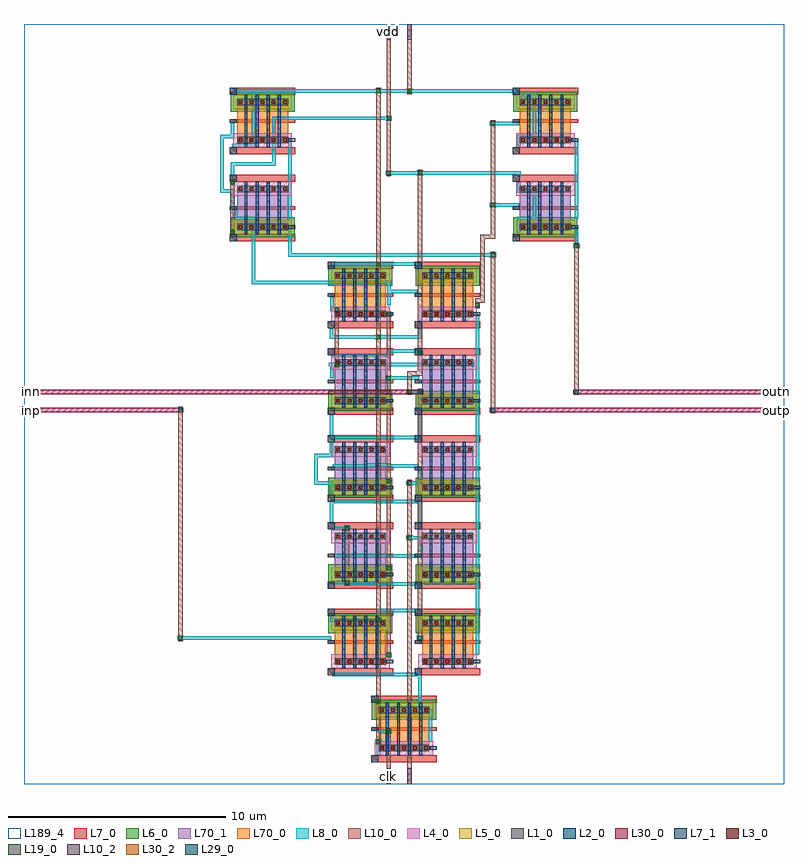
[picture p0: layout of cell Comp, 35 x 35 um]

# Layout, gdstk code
import gdstk
lib = gdstk.Library(unit=1e-6, precision=1e-09)
def R(c, l, rs):  # rectangles x0, y0, x1, y1
    for r in rs: c.add(gdstk.rectangle(r[:2], r[2:], *l))
def A(c, l, x, y, w, h, nx, ny, dx, dy):  # array of equal rectangles
    R(c, l, [(x+i*dx, y+j*dy, x+i*dx+w, y+j*dy+h) for i in range(nx) for j in range(ny)])
L1_0 = (1, 0)
L2_0 = (2, 0)
L3_0 = (3, 0)
L4_0 = (4, 0)
L5_0 = (5, 0)
L6_0 = (6, 0)
L7_0 = (7, 0)
L7_1 = (7, 1)
L8_0 = (8, 0)
L10_0 = (10, 0)
L10_2 = (10, 2)
L19_0 = (19, 0)
L29_0 = (29, 0)
L30_0 = (30, 0)
L30_2 = (30, 2)
L70_0 = (70, 0)
L70_1 = (70, 1)
L189_4 = (189, 4)

via_via1_xy = lib.new_cell('VIA_Via1_XY')
R(via_via1_xy, L8_0, [(-0.145,-0.105,0.145,0.105)])
R(via_via1_xy, L10_0, [(-0.1,-0.145,0.1,0.145)])
R(via_via1_xy, L19_0, [(-0.095,-0.095,0.095,0.095)])

via_via2_yx = lib.new_cell('VIA_Via2_YX')
R(via_via2_yx, L10_0, [(-0.105,-0.145,0.105,0.145)])
R(via_via2_yx, L29_0, [(-0.095,-0.095,0.095,0.095)])
R(via_via2_yx, L30_0, [(-0.145,-0.1,0.145,0.1)])

via_via1_yy = lib.new_cell('VIA_Via1_YY')
R(via_via1_yy, L8_0, [(-0.105,-0.145,0.105,0.145)])
R(via_via1_yy, L10_0, [(-0.1,-0.145,0.1,0.145)])
R(via_via1_yy, L19_0, [(-0.095,-0.095,0.095,0.095)])

sg13_lv_pmos = lib.new_cell('sg13_lv_pmos')
R(sg13_lv_pmos, L1_0, [(0.34,0.5,2.68,0.8), (0.34,2.26,2.68,2.56)])
A(sg13_lv_pmos, L2_0, 0.68, 0.32, 0.13, 2.42, 4, 1, 0.51, 0)
A(sg13_lv_pmos, L3_0, 0.41, 0.57, 0.16, 0.16, 5, 2, 0.51, 1.76)
R(sg13_lv_pmos, L4_0, [(0.16,2.08,2.86,2.74)])
R(sg13_lv_pmos, L5_0, [(0.16,0.32,2.86,0.98)])
R(sg13_lv_pmos, L6_0, [(0.03,0.19,2.99,1.11)])
A(sg13_lv_pmos, L7_0, 0.35, 0.51, 0.28, 0.28, 5, 1, 0.51, 0)
R(sg13_lv_pmos, L7_0, [(0,0,3.02,0.32), (0,1.45,3.02,1.61), (0,2.74,3.02,3.06)])
R(sg13_lv_pmos, L7_1, [(0,0,0.32,0.32), (2.7,0.57,3.02,0.73), (0,1.45,0.32,1.61), (0,2.74,0.32,3.06)])
R(sg13_lv_pmos, L70_1, [(0.34,0.5,2.68,2.56)])

sg13_lv_nmos = lib.new_cell('sg13_lv_nmos')
R(sg13_lv_nmos, L1_0, [(0.34,0.5,2.68,0.8), (0.34,2.26,2.68,2.56)])
A(sg13_lv_nmos, L2_0, 0.68, 0.32, 0.13, 2.42, 4, 1, 0.51, 0)
A(sg13_lv_nmos, L3_0, 0.41, 0.57, 0.16, 0.16, 5, 2, 0.51, 1.76)
R(sg13_lv_nmos, L4_0, [(0.16,0.32,2.86,0.98)])
R(sg13_lv_nmos, L5_0, [(0.16,2.08,2.86,2.74)])
R(sg13_lv_nmos, L6_0, [(0.03,1.95,2.99,2.87)])
A(sg13_lv_nmos, L7_0, 0.35, 0.51, 0.28, 0.28, 5, 1, 0.51, 0)
R(sg13_lv_nmos, L7_0, [(0,0,3.02,0.32), (0,1.45,3.02,1.61), (0,2.74,3.02,3.06)])
R(sg13_lv_nmos, L7_1, [(0,0,0.32,0.32), (2.7,0.57,3.02,0.73), (0,1.45,0.32,1.61), (0,2.74,0.32,3.06)])
R(sg13_lv_nmos, L70_0, [(0.34,0.5,2.68,2.56)])

comp = lib.new_cell('Comp')
R(comp, L8_0, [(14.025,19.24,14.4,19.4), (17.865,28.06,18.24,28.22)])
R(comp, L10_0, [(16.7,0,16.9,0.72), (17.66,0,17.86,0.72), (16.7,30.085,16.9,30.66), (16.7,34.28,16.9,35), (17.66,34.28,17.86,35)])
R(comp, L10_2, [(16.7,0,16.9,0.72), (17.66,0,17.86,0.72), (16.7,34.28,16.9,35), (17.66,34.28,17.86,35)])
R(comp, L30_0, [(0,17.12,0.72,17.32), (34.28,17.12,35,17.32), (0,17.96,0.72,18.16), (34.28,17.96,35,18.16)])
R(comp, L30_2, [(0,17.12,0.72,17.32), (34.28,17.12,35,17.32), (0,17.96,0.72,18.16), (34.28,17.96,35,18.16)])
R(comp, L189_4, [(0,0,35,35)])
comp.add(gdstk.FlexPath([(16.32,2.425),(16.8,2.425)], 0.16, ends=(0, 0.08), simple_path=True, layer=8, datatype=0))  # L8_0
comp.add(gdstk.FlexPath([(18.21,10.71),(18.21,11.34)], 0.16, ends=(0, 0.08), simple_path=True, layer=8, datatype=0))  # L8_0
comp.add(gdstk.FlexPath([(17.76,11.34),(18.21,11.34)], 0.16, ends="extended", simple_path=True, layer=8, datatype=0))  # L8_0
comp.add(gdstk.FlexPath([(18.21,13.86),(18.21,14.425)], 0.16, ends=(0.08, 0), simple_path=True, layer=8, datatype=0))  # L8_0
comp.add(gdstk.FlexPath([(17.76,13.86),(18.21,13.86)], 0.16, ends="extended", simple_path=True, layer=8, datatype=0))  # L8_0
comp.add(gdstk.FlexPath([(14.295,10.5),(18.105,10.5)], 0.16, ends="flush", simple_path=True, layer=8, datatype=0))  # L8_0
comp.add(gdstk.FlexPath([(14.295,14.635),(14.295,14.7)], 0.16, ends=(0.08, 0), simple_path=True, layer=8, datatype=0))  # L8_0
comp.add(gdstk.FlexPath([(14.295,14.635),(15.84,14.635)], 0.16, ends="extended", simple_path=True, layer=8, datatype=0))  # L8_0
comp.add(gdstk.FlexPath([(15.84,14.635),(15.84,14.7)], 0.16, ends="extended", simple_path=True, layer=8, datatype=0))  # L8_0
comp.add(gdstk.FlexPath([(15.84,14.7),(16.79,14.7)], 0.16, ends="extended", simple_path=True, layer=8, datatype=0))  # L8_0
comp.add(gdstk.FlexPath([(16.79,14.635),(16.79,14.7)], 0.16, ends="extended", simple_path=True, layer=8, datatype=0))  # L8_0
comp.add(gdstk.FlexPath([(16.79,14.635),(18.105,14.635)], 0.16, ends="extended", simple_path=True, layer=8, datatype=0))  # L8_0
comp.add(gdstk.FlexPath([(18.105,14.635),(18.105,14.7)], 0.16, ends=(0.08, 0), simple_path=True, layer=8, datatype=0))  # L8_0
comp.add(gdstk.FlexPath([(7.2,6.72),(14.16,6.72)], 0.16, ends=(0.08, 0), simple_path=True, layer=8, datatype=0))  # L8_0
comp.add(gdstk.FlexPath([(25.44,24.78),(25.44,25.735)], 0.16, ends=(0.08, 0), simple_path=True, layer=8, datatype=0))  # L8_0
comp.add(gdstk.FlexPath([(25.44,26.04),(25.44,29.735)], 0.16, ends="flush", simple_path=True, layer=8, datatype=0))  # L8_0
comp.add(gdstk.FlexPath([(9.6,26.67),(9.6,27.3)], 0.16, ends=(0, 0.08), simple_path=True, layer=8, datatype=0))  # L8_0
comp.add(gdstk.FlexPath([(9.12,27.3),(9.6,27.3)], 0.16, ends="extended", simple_path=True, layer=8, datatype=0))  # L8_0
comp.add(gdstk.FlexPath([(9.12,27.3),(9.12,29.82)], 0.16, ends="extended", simple_path=True, layer=8, datatype=0))  # L8_0
comp.add(gdstk.FlexPath([(9.12,29.82),(9.6,29.82)], 0.16, ends="extended", simple_path=True, layer=8, datatype=0))  # L8_0
comp.add(gdstk.FlexPath([(9.6,29.82),(9.6,30.425)], 0.16, ends=(0.08, 0), simple_path=True, layer=8, datatype=0))  # L8_0
comp.add(gdstk.FlexPath([(16.8,22.05),(16.8,23.1)], 0.16, ends=(0, 0.08), simple_path=True, layer=8, datatype=0))  # L8_0
comp.add(gdstk.FlexPath([(10.56,23.1),(16.8,23.1)], 0.16, ends="extended", simple_path=True, layer=8, datatype=0))  # L8_0
comp.add(gdstk.FlexPath([(10.56,23.1),(10.56,26.04)], 0.16, ends="extended", simple_path=True, layer=8, datatype=0))  # L8_0
comp.add(gdstk.FlexPath([(9.69,26.04),(10.56,26.04)], 0.16, ends="extended", simple_path=True, layer=8, datatype=0))  # L8_0
comp.add(gdstk.FlexPath([(9.69,26.04),(9.69,26.46)], 0.16, ends=(0.08, 0), simple_path=True, layer=8, datatype=0))  # L8_0
comp.add(gdstk.FlexPath([(16.8,22.68),(18.105,22.68)], 0.16, ends=(0.08, 0), simple_path=True, layer=8, datatype=0))  # L8_0
comp.add(gdstk.FlexPath([(16.8,18.69),(18.21,18.69)], 0.16, ends=(0.08, 0), simple_path=True, layer=8, datatype=0))  # L8_0
comp.add(gdstk.FlexPath([(16.8,17.945),(16.8,18.69)], 0.16, ends=(0, 0.08), simple_path=True, layer=8, datatype=0))  # L8_0
comp.add(gdstk.FlexPath([(12.24,24.36),(12.24,25.735)], 0.16, ends=(0.08, 0), simple_path=True, layer=8, datatype=0))  # L8_0
comp.add(gdstk.FlexPath([(12.24,24.36),(21.6,24.36)], 0.16, ends="extended", simple_path=True, layer=8, datatype=0))  # L8_0
comp.add(gdstk.FlexPath([(12.24,26.04),(12.24,29.735)], 0.16, ends="flush", simple_path=True, layer=8, datatype=0))  # L8_0
comp.add(gdstk.FlexPath([(21.6,26.67),(22.8,26.67)], 0.16, ends=(0.08, 0), simple_path=True, layer=8, datatype=0))  # L8_0
comp.add(gdstk.FlexPath([(21.6,30.425),(22.8,30.425)], 0.16, ends=(0.08, 0), simple_path=True, layer=8, datatype=0))  # L8_0
comp.add(gdstk.FlexPath([(20.88,17.945),(20.88,21.63)], 0.16, ends="flush", simple_path=True, layer=8, datatype=0))  # L8_0
comp.add(gdstk.FlexPath([(20.88,13.945),(20.88,17.64)], 0.16, ends="flush", simple_path=True, layer=8, datatype=0))  # L8_0
comp.add(gdstk.FlexPath([(20.88,9.945),(20.88,13.65)], 0.16, ends="flush", simple_path=True, layer=8, datatype=0))  # L8_0
comp.add(gdstk.FlexPath([(20.88,5.945),(20.88,9.66)], 0.16, ends="flush", simple_path=True, layer=8, datatype=0))  # L8_0
comp.add(gdstk.FlexPath([(14.19,18.69),(14.19,19.32)], 0.16, ends=(0, 0.08), simple_path=True, layer=8, datatype=0))  # L8_0
comp.add(gdstk.FlexPath([(14.19,19.32),(20.88,19.32)], 0.16, ends="extended", simple_path=True, layer=8, datatype=0))  # L8_0
comp.add(gdstk.FlexPath([(14.19,21.84),(14.19,22.425)], 0.16, ends=(0.08, 0), simple_path=True, layer=8, datatype=0))  # L8_0
comp.add(gdstk.FlexPath([(14.19,21.84),(14.4,21.84)], 0.16, ends="extended", simple_path=True, layer=8, datatype=0))  # L8_0
comp.add(gdstk.FlexPath([(14.19,5.04),(18.21,5.04)], 0.16, ends="flush", simple_path=True, layer=8, datatype=0))  # L8_0
comp.add(gdstk.FlexPath([(18.72,1.945),(18.72,3.36)], 0.16, ends=(0, 0.08), simple_path=True, layer=8, datatype=0))  # L8_0
comp.add(gdstk.FlexPath([(18.24,3.36),(18.72,3.36)], 0.16, ends="extended", simple_path=True, layer=8, datatype=0))  # L8_0
comp.add(gdstk.FlexPath([(18.24,3.36),(18.24,5.04)], 0.16, ends=(0.08, 0), simple_path=True, layer=8, datatype=0))  # L8_0
comp.add(gdstk.FlexPath([(22.8,27.955),(22.8,28.14)], 0.16, ends=(0, 0.08), simple_path=True, layer=8, datatype=0))  # L8_0
comp.add(gdstk.FlexPath([(16.8,28.14),(22.8,28.14)], 0.16, ends="extended", simple_path=True, layer=8, datatype=0))  # L8_0
comp.add(gdstk.FlexPath([(22.8,25.41),(22.8,26.04)], 0.16, ends=(0, 0.08), simple_path=True, layer=8, datatype=0))  # L8_0
comp.add(gdstk.FlexPath([(22.8,26.04),(23.52,26.04)], 0.16, ends="extended", simple_path=True, layer=8, datatype=0))  # L8_0
comp.add(gdstk.FlexPath([(23.52,26.04),(23.52,27.3)], 0.16, ends="extended", simple_path=True, layer=8, datatype=0))  # L8_0
comp.add(gdstk.FlexPath([(22.8,27.3),(23.52,27.3)], 0.16, ends="extended", simple_path=True, layer=8, datatype=0))  # L8_0
comp.add(gdstk.FlexPath([(22.8,27.3),(22.8,27.72)], 0.16, ends=(0.08, 0), simple_path=True, layer=8, datatype=0))  # L8_0
comp.add(gdstk.FlexPath([(18.24,17.315),(18.24,18.06)], 0.16, ends=(0, 0.08), simple_path=True, layer=8, datatype=0))  # L8_0
comp.add(gdstk.FlexPath([(17.76,18.06),(18.24,18.06)], 0.16, ends="extended", simple_path=True, layer=8, datatype=0))  # L8_0
comp.add(gdstk.FlexPath([(18.24,15.96),(18.24,17.01)], 0.16, ends="flush", simple_path=True, layer=8, datatype=0))  # L8_0
comp.add(gdstk.FlexPath([(14.16,15.96),(18.24,15.96)], 0.16, ends="flush", simple_path=True, layer=8, datatype=0))  # L8_0
comp.add(gdstk.FlexPath([(14.16,15.96),(14.16,17.01)], 0.16, ends="flush", simple_path=True, layer=8, datatype=0))  # L8_0
comp.add(gdstk.FlexPath([(14.16,19.74),(16.79,19.74)], 0.16, ends=(0, 0.08), simple_path=True, layer=8, datatype=0))  # L8_0
comp.add(gdstk.FlexPath([(16.79,19.74),(16.79,19.95)], 0.16, ends="extended", simple_path=True, layer=8, datatype=0))  # L8_0
comp.add(gdstk.FlexPath([(16.79,19.95),(18.24,19.95)], 0.16, ends=(0.08, 0), simple_path=True, layer=8, datatype=0))  # L8_0
comp.add(gdstk.FlexPath([(14.16,13.315),(14.16,13.86)], 0.16, ends=(0, 0.08), simple_path=True, layer=8, datatype=0))  # L8_0
comp.add(gdstk.FlexPath([(13.44,13.86),(14.16,13.86)], 0.16, ends="extended", simple_path=True, layer=8, datatype=0))  # L8_0
comp.add(gdstk.FlexPath([(13.44,13.86),(13.44,15.12)], 0.16, ends="extended", simple_path=True, layer=8, datatype=0))  # L8_0
comp.add(gdstk.FlexPath([(13.44,15.12),(14.16,15.12)], 0.16, ends="extended", simple_path=True, layer=8, datatype=0))  # L8_0
comp.add(gdstk.FlexPath([(14.16,15.12),(14.16,15.75)], 0.16, ends=(0.08, 0), simple_path=True, layer=8, datatype=0))  # L8_0
comp.add(gdstk.FlexPath([(14.16,13.02),(18.24,13.02)], 0.16, ends="flush", simple_path=True, layer=8, datatype=0))  # L8_0
comp.add(gdstk.FlexPath([(14.16,11.97),(14.16,13.02)], 0.16, ends="flush", simple_path=True, layer=8, datatype=0))  # L8_0
comp.add(gdstk.FlexPath([(18.24,11.97),(18.24,13.02)], 0.16, ends="flush", simple_path=True, layer=8, datatype=0))  # L8_0
comp.add(gdstk.FlexPath([(14.16,9.275),(14.88,9.275)], 0.16, ends=(0, 0.08), simple_path=True, layer=8, datatype=0))  # L8_0
comp.add(gdstk.FlexPath([(14.16,11.76),(14.88,11.76)], 0.16, ends=(0, 0.08), simple_path=True, layer=8, datatype=0))  # L8_0
comp.add(gdstk.FlexPath([(16.32,9.21),(18.24,9.21)], 0.16, ends=(0.08, 0), simple_path=True, layer=8, datatype=0))  # L8_0
comp.add(gdstk.FlexPath([(16.32,9.21),(16.32,9.24)], 0.16, ends="extended", simple_path=True, layer=8, datatype=0))  # L8_0
comp.add(gdstk.FlexPath([(14.88,9.24),(16.32,9.24)], 0.16, ends="extended", simple_path=True, layer=8, datatype=0))  # L8_0
comp.add(gdstk.FlexPath([(14.88,9.24),(14.88,9.275)], 0.16, ends="extended", simple_path=True, layer=8, datatype=0))  # L8_0
comp.add(gdstk.FlexPath([(9.6,27.955),(9.6,28.56)], 0.16, ends=(0, 0.08), simple_path=True, layer=8, datatype=0))  # L8_0
comp.add(gdstk.FlexPath([(9.6,28.56),(11.52,28.56)], 0.16, ends="extended", simple_path=True, layer=8, datatype=0))  # L8_0
comp.add(gdstk.FlexPath([(11.52,28.56),(11.52,30.66)], 0.16, ends="extended", simple_path=True, layer=8, datatype=0))  # L8_0
comp.add(gdstk.FlexPath([(11.52,30.66),(16.8,30.66)], 0.16, ends="extended", simple_path=True, layer=8, datatype=0))  # L8_0
comp.add(gdstk.FlexPath([(16.32,1.315),(16.32,1.945)], 0.16, ends=(0, 0.08), simple_path=True, layer=8, datatype=0))  # L8_0
comp.add(gdstk.FlexPath([(14.19,7.56),(14.19,7.745)], 0.16, ends=(0.08, 0), simple_path=True, layer=8, datatype=0))  # L8_0
comp.add(gdstk.FlexPath([(14.19,7.56),(16.32,7.56)], 0.16, ends="extended", simple_path=True, layer=8, datatype=0))  # L8_0
comp.add(gdstk.FlexPath([(16.32,7.98),(18.105,7.98)], 0.16, ends=(0.08, 0), simple_path=True, layer=8, datatype=0))  # L8_0
comp.add(gdstk.FlexPath([(16.32,7.56),(16.32,7.98)], 0.16, ends="extended", simple_path=True, layer=8, datatype=0))  # L8_0
comp.add(gdstk.FlexPath([(14.16,20.58),(14.16,21)], 0.16, ends=(0.08, 0), simple_path=True, layer=8, datatype=0))  # L8_0
comp.add(gdstk.FlexPath([(14.16,20.58),(16.32,20.58)], 0.16, ends="extended", simple_path=True, layer=8, datatype=0))  # L8_0
comp.add(gdstk.FlexPath([(18.24,20.58),(18.24,21)], 0.16, ends=(0.08, 0), simple_path=True, layer=8, datatype=0))  # L8_0
comp.add(gdstk.FlexPath([(16.32,20.58),(18.24,20.58)], 0.16, ends="extended", simple_path=True, layer=8, datatype=0))  # L8_0
comp.add(gdstk.FlexPath([(14.16,23.94),(16.32,23.94)], 0.16, ends=(0, 0.08), simple_path=True, layer=8, datatype=0))  # L8_0
comp.add(gdstk.FlexPath([(16.32,23.94),(18.24,23.94)], 0.16, ends=(0.08, 0), simple_path=True, layer=8, datatype=0))  # L8_0
comp.add(gdstk.FlexPath([(9.69,31.92),(16.32,31.92)], 0.16, ends=(0, 0.08), simple_path=True, layer=8, datatype=0))  # L8_0
comp.add(gdstk.FlexPath([(9.6,29.4),(10.56,29.4)], 0.16, ends=(0, 0.08), simple_path=True, layer=8, datatype=0))  # L8_0
comp.add(gdstk.FlexPath([(10.56,29.4),(10.56,31.92)], 0.16, ends="extended", simple_path=True, layer=8, datatype=0))  # L8_0
comp.add(gdstk.FlexPath([(16.32,31.92),(17.76,31.92)], 0.16, ends="extended", simple_path=True, layer=8, datatype=0))  # L8_0
comp.add(gdstk.FlexPath([(17.76,31.92),(22.71,31.92)], 0.16, ends=(0.08, 0), simple_path=True, layer=8, datatype=0))  # L8_0
comp.add(gdstk.FlexPath([(22.8,29.4),(22.8,29.82)], 0.16, ends=(0, 0.08), simple_path=True, layer=8, datatype=0))  # L8_0
comp.add(gdstk.FlexPath([(22.8,29.82),(23.52,29.82)], 0.16, ends="extended", simple_path=True, layer=8, datatype=0))  # L8_0
comp.add(gdstk.FlexPath([(23.52,29.82),(23.52,31.71)], 0.16, ends="extended", simple_path=True, layer=8, datatype=0))  # L8_0
comp.add(gdstk.FlexPath([(22.8,31.71),(23.52,31.71)], 0.16, ends=(0, 0.08), simple_path=True, layer=8, datatype=0))  # L8_0
comp.add(gdstk.FlexPath([(16.8,0.42),(16.8,2.425)], 0.2, ends=(0, 0.1), simple_path=True, layer=10, datatype=0))  # L10_0
comp.add(gdstk.FlexPath([(17.76,0.42),(17.76,11.34)], 0.2, ends=(0, 0.1), simple_path=True, layer=10, datatype=0))  # L10_0
comp.add(gdstk.FlexPath([(17.76,11.34),(17.76,13.86)], 0.2, ends="extended", simple_path=True, layer=10, datatype=0))  # L10_0
comp.add(gdstk.FlexPath([(18.24,6.72),(18.24,18.06)], 0.2, ends="extended", simple_path=True, layer=10, datatype=0))  # L10_0
comp.add(gdstk.FlexPath([(7.2,6.72),(7.2,17.22)], 0.2, ends="extended", simple_path=True, layer=10, datatype=0))  # L10_0
comp.add(gdstk.FlexPath([(25.44,18.06),(25.44,24.78)], 0.2, ends="extended", simple_path=True, layer=10, datatype=0))  # L10_0
comp.add(gdstk.FlexPath([(16.8,18.69),(16.8,21.63)], 0.2, ends="extended", simple_path=True, layer=10, datatype=0))  # L10_0
comp.add(gdstk.FlexPath([(16.8,13.945),(16.8,18.69)], 0.2, ends="extended", simple_path=True, layer=10, datatype=0))  # L10_0
comp.add(gdstk.FlexPath([(16.8,9.945),(16.8,13.945)], 0.2, ends="extended", simple_path=True, layer=10, datatype=0))  # L10_0
comp.add(gdstk.FlexPath([(16.8,5.945),(16.8,9.945)], 0.2, ends="extended", simple_path=True, layer=10, datatype=0))  # L10_0
comp.add(gdstk.FlexPath([(21.6,17.22),(21.6,24.36)], 0.2, ends="extended", simple_path=True, layer=10, datatype=0))  # L10_0
comp.add(gdstk.FlexPath([(21.6,26.67),(21.6,30.425)], 0.2, ends="extended", simple_path=True, layer=10, datatype=0))  # L10_0
comp.add(gdstk.FlexPath([(20.88,22.05),(20.88,22.26)], 0.2, ends="extended", simple_path=True, layer=10, datatype=0))  # L10_0
comp.add(gdstk.FlexPath([(20.88,22.26),(21.12,22.26)], 0.2, ends="extended", simple_path=True, layer=10, datatype=0))  # L10_0
comp.add(gdstk.FlexPath([(21.12,22.26),(21.12,25.2)], 0.2, ends="extended", simple_path=True, layer=10, datatype=0))  # L10_0
comp.add(gdstk.FlexPath([(21.12,25.2),(21.6,25.2)], 0.2, ends="extended", simple_path=True, layer=10, datatype=0))  # L10_0
comp.add(gdstk.FlexPath([(21.6,25.2),(21.6,26.67)], 0.2, ends="extended", simple_path=True, layer=10, datatype=0))  # L10_0
comp.add(gdstk.FlexPath([(14.4,19.32),(14.4,21.84)], 0.2, ends="extended", simple_path=True, layer=10, datatype=0))  # L10_0
comp.add(gdstk.FlexPath([(16.8,28.14),(16.8,34.44)], 0.2, ends=(0.1, 0), simple_path=True, layer=10, datatype=0))  # L10_0
comp.add(gdstk.FlexPath([(18.24,19.85),(18.24,28.14)], 0.2, ends="extended", simple_path=True, layer=10, datatype=0))  # L10_0
comp.add(gdstk.FlexPath([(17.76,18.06),(17.76,18.9)], 0.2, ends="extended", simple_path=True, layer=10, datatype=0))  # L10_0
comp.add(gdstk.FlexPath([(17.76,18.9),(18.24,18.9)], 0.2, ends="extended", simple_path=True, layer=10, datatype=0))  # L10_0
comp.add(gdstk.FlexPath([(18.24,18.9),(18.24,19.85)], 0.2, ends="extended", simple_path=True, layer=10, datatype=0))  # L10_0
comp.add(gdstk.FlexPath([(14.88,9.275),(14.88,11.76)], 0.2, ends="extended", simple_path=True, layer=10, datatype=0))  # L10_0
comp.add(gdstk.FlexPath([(9.6,25.41),(9.6,27.72)], 0.2, ends="extended", simple_path=True, layer=10, datatype=0))  # L10_0
comp.add(gdstk.FlexPath([(16.32,1.945),(16.32,3.78)], 0.2, ends="extended", simple_path=True, layer=10, datatype=0))  # L10_0
comp.add(gdstk.FlexPath([(16.32,3.78),(16.32,7.56)], 0.2, ends="extended", simple_path=True, layer=10, datatype=0))  # L10_0
comp.add(gdstk.FlexPath([(16.32,7.56),(16.32,20.58)], 0.2, ends="extended", simple_path=True, layer=10, datatype=0))  # L10_0
comp.add(gdstk.FlexPath([(16.32,20.58),(16.32,23.94)], 0.2, ends="extended", simple_path=True, layer=10, datatype=0))  # L10_0
comp.add(gdstk.FlexPath([(16.32,23.94),(16.32,31.92)], 0.2, ends="extended", simple_path=True, layer=10, datatype=0))  # L10_0
comp.add(gdstk.FlexPath([(17.76,31.92),(17.76,34.44)], 0.2, ends=(0.1, 0), simple_path=True, layer=10, datatype=0))  # L10_0
comp.add(gdstk.FlexPath([(0.48,18.06),(18.24,18.06)], 0.2, ends=(0, 0.1), simple_path=True, layer=30, datatype=0))  # L30_0
comp.add(gdstk.FlexPath([(0.48,17.22),(7.2,17.22)], 0.2, ends=(0, 0.1), simple_path=True, layer=30, datatype=0))  # L30_0
comp.add(gdstk.FlexPath([(25.44,18.06),(34.56,18.06)], 0.2, ends=(0.1, 0), simple_path=True, layer=30, datatype=0))  # L30_0
comp.add(gdstk.FlexPath([(21.6,17.22),(34.56,17.22)], 0.2, ends=(0.1, 0), simple_path=True, layer=30, datatype=0))  # L30_0
comp.add(gdstk.Reference(via_via1_xy, (14.88,11.76)))
comp.add(gdstk.Reference(via_via1_xy, (17.76,31.92)))
comp.add(gdstk.Reference(via_via1_xy, (16.32,31.92)))
comp.add(gdstk.Reference(via_via1_xy, (16.32,23.94)))
comp.add(gdstk.Reference(via_via1_xy, (16.32,20.58)))
comp.add(gdstk.Reference(via_via1_xy, (16.32,7.56)))
comp.add(gdstk.Reference(via_via1_xy, (16.32,1.945)))
comp.add(gdstk.Reference(via_via1_xy, (16.8,30.66)))
comp.add(gdstk.Reference(via_via1_xy, (16.8,2.425)))
comp.add(gdstk.Reference(via_via1_xy, (14.88,9.275)))
comp.add(gdstk.Reference(via_via1_xy, (21.6,24.36)))
comp.add(gdstk.Reference(via_via1_xy, (17.76,11.34)))
comp.add(gdstk.Reference(via_via1_xy, (17.76,13.86)))
comp.add(gdstk.Reference(via_via1_xy, (18.24,6.72)))
comp.add(gdstk.Reference(via_via1_xy, (7.2,6.72)))
comp.add(gdstk.Reference(via_via1_xy, (25.44,24.78)))
comp.add(gdstk.Reference(via_via1_xy, (16.8,18.69)))
comp.add(gdstk.Reference(via_via1_xy, (16.8,21.63)))
comp.add(gdstk.Reference(via_via1_xy, (16.8,13.945)))
comp.add(gdstk.Reference(via_via1_xy, (16.8,9.945)))
comp.add(gdstk.Reference(via_via1_xy, (16.8,5.945)))
comp.add(gdstk.Reference(via_via1_xy, (17.76,18.06)))
comp.add(gdstk.Reference(via_via1_xy, (21.6,26.67)))
comp.add(gdstk.Reference(via_via1_xy, (21.6,30.425)))
comp.add(gdstk.Reference(via_via1_xy, (14.4,21.84)))
comp.add(gdstk.Reference(via_via1_xy, (14.4,19.32)))
comp.add(gdstk.Reference(via_via1_xy, (16.8,28.14)))
comp.add(gdstk.Reference(via_via1_xy, (18.24,19.85)))
comp.add(gdstk.Reference(via_via1_xy, (18.24,28.14)))
comp.add(gdstk.Reference(via_via2_yx, (21.6,17.22)))
comp.add(gdstk.Reference(via_via2_yx, (25.44,18.06)))
comp.add(gdstk.Reference(via_via2_yx, (7.2,17.22)))
comp.add(gdstk.Reference(via_via2_yx, (18.24,18.06)))
comp.add(gdstk.Reference(via_via1_yy, (20.88,22.05)))
comp.add(gdstk.Reference(via_via1_yy, (16.32,3.78)))
comp.add(gdstk.Reference(via_via1_yy, (9.6,27.72)))
comp.add(gdstk.Reference(via_via1_yy, (9.6,25.41)))
comp.add(gdstk.Reference(sg13_lv_pmos, (18,17)))
comp.add(gdstk.Reference(sg13_lv_pmos, (13.98,9)))
comp.add(gdstk.Reference(sg13_lv_pmos, (18,9)))
comp.add(gdstk.Reference(sg13_lv_pmos, (13.98,13)))
comp.add(gdstk.Reference(sg13_lv_pmos, (18,13)))
comp.add(gdstk.Reference(sg13_lv_pmos, (13.98,17)))
comp.add(gdstk.Reference(sg13_lv_pmos, (9.48,25)))
comp.add(gdstk.Reference(sg13_lv_pmos, (22.5,25)))
comp.add(gdstk.Reference(sg13_lv_nmos, (15.99,1)))
comp.add(gdstk.Reference(sg13_lv_nmos, (18,21)))
comp.add(gdstk.Reference(sg13_lv_nmos, (13.98,21)))
comp.add(gdstk.Reference(sg13_lv_nmos, (22.5,29)))
comp.add(gdstk.Reference(sg13_lv_nmos, (9.48,29)))
comp.add(gdstk.Reference(sg13_lv_nmos, (18,5)))
comp.add(gdstk.Reference(sg13_lv_nmos, (13.98,5)))
comp.add(gdstk.Label('clk', (16.8,0.36), layer=10, texttype=25))
comp.add(gdstk.Label('clkb', (17.76,0.36), layer=10, texttype=25))
comp.add(gdstk.Label('vdd', (16.8,34.64), layer=10, texttype=25))
comp.add(gdstk.Label('vss', (17.76,34.64), layer=10, texttype=25))
comp.add(gdstk.Label('inn', (0.36,18.06), layer=30, texttype=25))
comp.add(gdstk.Label('inp', (0.36,17.22), layer=30, texttype=25))
comp.add(gdstk.Label('outn', (34.64,18.06), layer=30, texttype=25))
comp.add(gdstk.Label('outp', (34.64,17.22), layer=30, texttype=25))

lib.write_gds('Comp.gds')
